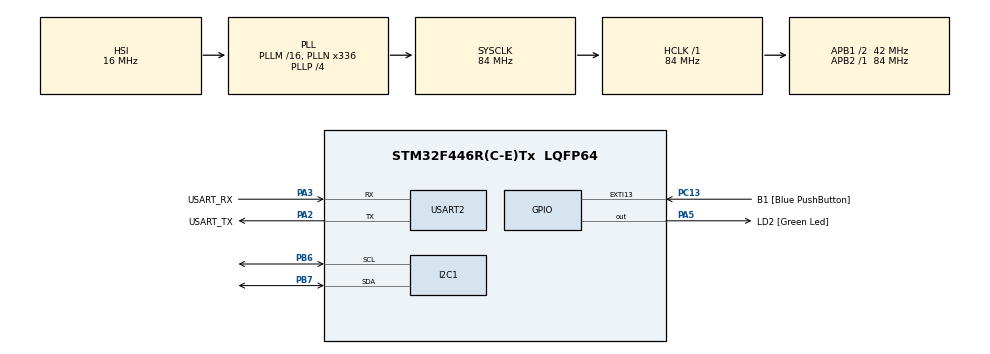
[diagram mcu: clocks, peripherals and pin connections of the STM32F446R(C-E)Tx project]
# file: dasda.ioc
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Mcu.Family=STM32F4
Mcu.Name=STM32F446R(C-E)Tx
Mcu.Package=LQFP64
NVIC.PriorityGroup=NVIC_PRIORITYGROUP_0
PA13.GPIO_Label=TMS
PA13.Mode=Serial_Wire
PA13.Signal=SYS_JTMS-SWDIO
PA14.GPIO_Label=TCK
PA14.Mode=Serial_Wire
PA14.Signal=SYS_JTCK-SWCLK
PA2.GPIO_Label=USART_TX
PA2.Mode=Asynchronous
PA2.Signal=USART2_TX
PA3.GPIO_Label=USART_RX
PA3.Mode=Asynchronous
PA3.Signal=USART2_RX
PA5.GPIO_Label=LD2 [Green Led]
PA5.Signal=GPIO_Output
PB3.GPIO_Label=SWO
PB3.Signal=SYS_JTDO-SWO
PB6.Mode=I2C
PB6.Signal=I2C1_SCL
PB7.Mode=I2C
PB7.Signal=I2C1_SDA
PC13.GPIO_Label=B1 [Blue PushButton]
PC13.GPIO_ModeDefaultEXTI=GPIO_MODE_IT_FALLING
PC13.Signal=GPXTI13
PC14-OSC32_IN.Mode=LSE-External-Oscillator
PC14-OSC32_IN.Signal=RCC_OSC32_IN
PC15-OSC32_OUT.Mode=LSE-External-Oscillator
PC15-OSC32_OUT.Signal=RCC_OSC32_OUT
PH0-OSC_IN.Mode=HSE-External-Oscillator
PH0-OSC_IN.Signal=RCC_OSC_IN
PH1-OSC_OUT.Mode=HSE-External-Oscillator
PH1-OSC_OUT.Signal=RCC_OSC_OUT
ProjectManager.HeapSize=0x200
ProjectManager.StackSize=0x400
ProjectManager.TargetToolchain=STM32CubeIDE
RCC.48MHZClocksFreq_Value=84000000
RCC.AHBFreq_Value=84000000
RCC.APB1CLKDivider=RCC_HCLK_DIV2
RCC.APB1Freq_Value=42000000
RCC.APB1TimFreq_Value=84000000
RCC.APB2Freq_Value=84000000
RCC.APB2TimFreq_Value=84000000
RCC.CortexFreq_Value=84000000
RCC.FLatency-AdvancedSettings=FLASH_LATENCY_2
RCC.HCLKFreq_Value=84000000
RCC.HSE_VALUE=8000000
RCC.HSI_VALUE=16000000
RCC.PLLN=336
RCC.PLLP=RCC_PLLP_DIV4
RCC.SYSCLKFreq_VALUE=84000000
RCC.SYSCLKSource=RCC_SYSCLKSOURCE_PLLCLK
RCC.USBFreq_Value=168000000
RCC.VCOOutputFreq_Value=336000000
USART2.VirtualMode=VM_ASYNC
board=NUCLEO-F446RE

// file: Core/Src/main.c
/* USER CODE BEGIN Header */
/**
  ******************************************************************************
  * @file           : main.c
  * @brief          : Main program body
  ******************************************************************************
  * @attention
  *
  * Copyright (c) 2026 STMicroelectronics.
  * All rights reserved.
  *
  * This software is licensed under terms that can be found in the LICENSE file
  * in the root directory of this software component.
  * If no LICENSE file comes with this software, it is provided AS-IS.
  *
  ******************************************************************************
  */
/* USER CODE END Header */
#include "main.h"
#include "i2c.h"
#include "usart.h"
#include "gpio.h"

/* USER CODE BEGIN Includes */
#include <stdio.h>
#include <string.h>

/* USER CODE END Includes */

void SystemClock_Config(void);
/* USER CODE BEGIN PFP */
void BME280_Test(void);

/* USER CODE END PFP */

int main(void)
{

  /* MCU Configuration--------------------------------------------------------*/

  /* Reset of all peripherals, Initializes the Flash interface and the Systick. */
  HAL_Init();

  /* Configure the system clock */
  SystemClock_Config();

  /* Initialize all configured peripherals */
  MX_GPIO_Init();
  MX_USART2_UART_Init();
  MX_I2C1_Init();
  /* USER CODE BEGIN 2 */
  BME280_Check();
  /* USER CODE END 2 */

  /* Infinite loop */
  while (1)
  {

  }
}

void SystemClock_Config(void)
{
  RCC_OscInitTypeDef RCC_OscInitStruct = {0};
  RCC_ClkInitTypeDef RCC_ClkInitStruct = {0};

  /** Configure the main internal regulator output voltage
  */
  __HAL_RCC_PWR_CLK_ENABLE();
  __HAL_PWR_VOLTAGESCALING_CONFIG(PWR_REGULATOR_VOLTAGE_SCALE3);

  /** Initializes the RCC Oscillators according to the specified parameters
  * in the RCC_OscInitTypeDef structure.
  */
  RCC_OscInitStruct.OscillatorType = RCC_OSCILLATORTYPE_HSI;
  RCC_OscInitStruct.HSIState = RCC_HSI_ON;
  RCC_OscInitStruct.HSICalibrationValue = RCC_HSICALIBRATION_DEFAULT;
  RCC_OscInitStruct.PLL.PLLState = RCC_PLL_ON;
  RCC_OscInitStruct.PLL.PLLSource = RCC_PLLSOURCE_HSI;
  RCC_OscInitStruct.PLL.PLLM = 16;
  RCC_OscInitStruct.PLL.PLLN = 336;
  RCC_OscInitStruct.PLL.PLLP = RCC_PLLP_DIV4;
  RCC_OscInitStruct.PLL.PLLQ = 2;
  RCC_OscInitStruct.PLL.PLLR = 2;
  if (HAL_RCC_OscConfig(&RCC_OscInitStruct) != HAL_OK)
  {
    Error_Handler();
  }

  /** Initializes the CPU, AHB and APB buses clocks
  */
  RCC_ClkInitStruct.ClockType = RCC_CLOCKTYPE_HCLK|RCC_CLOCKTYPE_SYSCLK
                              |RCC_CLOCKTYPE_PCLK1|RCC_CLOCKTYPE_PCLK2;
  RCC_ClkInitStruct.SYSCLKSource = RCC_SYSCLKSOURCE_PLLCLK;
  RCC_ClkInitStruct.AHBCLKDivider = RCC_SYSCLK_DIV1;
  RCC_ClkInitStruct.APB1CLKDivider = RCC_HCLK_DIV2;
  RCC_ClkInitStruct.APB2CLKDivider = RCC_HCLK_DIV1;

  if (HAL_RCC_ClockConfig(&RCC_ClkInitStruct, FLASH_LATENCY_2) != HAL_OK)
  {
    Error_Handler();
  }
}

/* USER CODE BEGIN 4 */

static void uart_print(const char *s)
{
    HAL_UART_Transmit(&huart2, (uint8_t*)s, (uint16_t)strlen(s), 1000);
}

void BME280_Check(void)
{
    char buf[80];

    uart_print("\r\n=== BME280 CHECK ===\r\n");

    // 1) Scan I2C – znajdzie urządzenia
    uint8_t found_any = 0;
    for (uint8_t addr = 1; addr < 127; addr++)
    {
        if (HAL_I2C_IsDeviceReady(&hi2c1, (addr << 1), 3, 20) == HAL_OK)
        {
            found_any = 1;
            snprintf(buf, sizeof(buf), "I2C FOUND: 0x%02X\r\n", addr);
            uart_print(buf);
        }
    }

    if (!found_any)
    {
        uart_print("I2C: NIC NIE ODPOWIADA (brak ACK)\r\n");
        uart_print("Sprawdz: CSB=3V3, SCL/SDA, pull-upy, zasilanie, uszkodzenie.\r\n");
        uart_print("=====================\r\n");
        return;
    }

    // 2) Spróbuj odczytać ID z typowych adresów BME280: 0x76 i 0x77
    // Rejestr ID: 0xD0, oczekiwane: 0x60 dla BME280
    const uint8_t candidates[2] = {0x76, 0x77};
    for (int i = 0; i < 2; i++)
    {
        uint8_t dev7 = candidates[i];
        uint8_t reg = 0xD0;
        uint8_t id  = 0x00;

        HAL_StatusTypeDef st = HAL_I2C_Mem_Read(&hi2c1, (dev7 << 1), reg,
                                               I2C_MEMADD_SIZE_8BIT,
                                               &id, 1, 200);

        if (st == HAL_OK)
        {
            snprintf(buf, sizeof(buf), "BME280? addr 0x%02X -> ID=0x%02X\r\n", dev7, id);
            uart_print(buf);

            if (id == 0x60)
            {
                uart_print("OK: To jest BME280 (ID=0x60)\r\n");
            }
            else
            {
                uart_print("UWAGA: Odpowiada, ale ID != 0x60 (to nie BME280 lub problem)\r\n");
            }
        }
        else
        {
            snprintf(buf, sizeof(buf), "addr 0x%02X: brak odczytu ID (HAL error)\r\n", dev7);
            uart_print(buf);
        }
    }

    uart_print("=====================\r\n");
}
/* USER CODE END 4 */

void Error_Handler(void)
{
  __disable_irq();
  while (1)
  {
  }
}
